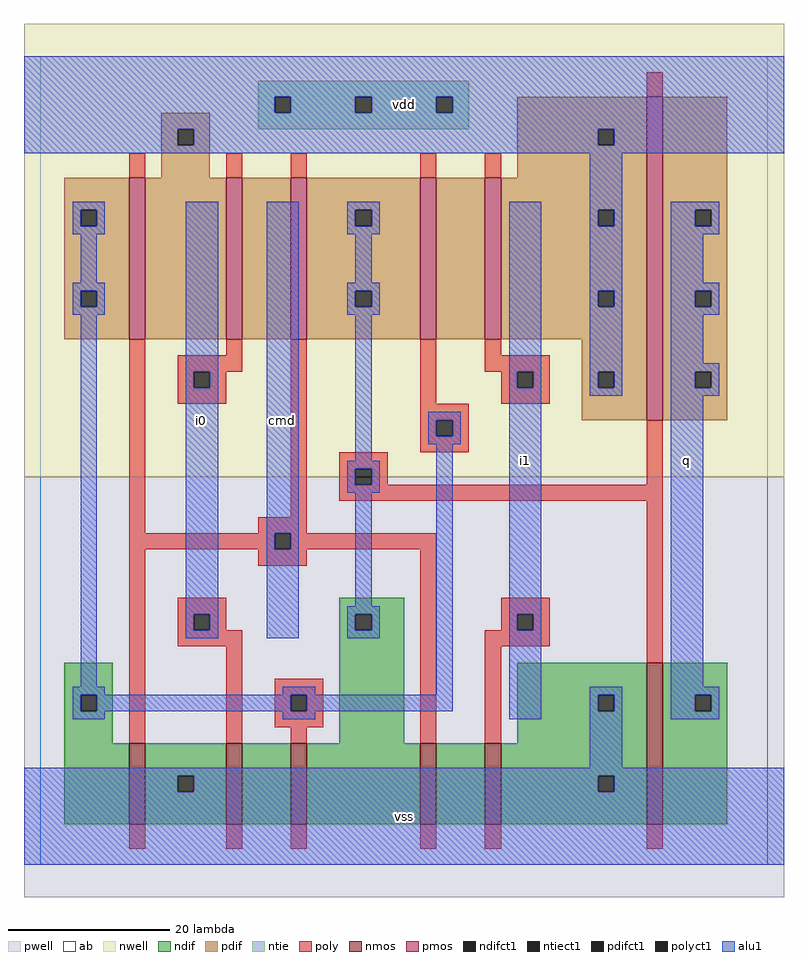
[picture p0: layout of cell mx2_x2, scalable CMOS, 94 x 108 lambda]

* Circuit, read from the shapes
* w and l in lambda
.subckt mx2_x2 cmd i0 i1 q vdd vss
M1 vss cmd n1 VSUBS nfet w=10 l=2
M2 n2 i0 vss VSUBS nfet w=10 l=2
M3 n3 n1 n2 VSUBS nfet w=10 l=2
M4 n4 cmd n3 VSUBS nfet w=10 l=2
M5 vss i1 n4 VSUBS nfet w=10 l=2
M6 q n3 vss VSUBS nfet w=20 l=2
M7 vdd cmd n1 vdd pfet w=20 l=2
M8 n5 i0 vdd vdd pfet w=20 l=2
M9 n3 cmd n5 vdd pfet w=20 l=2
M10 n6 n1 n3 vdd pfet w=20 l=2
M11 vdd i1 n6 vdd pfet w=20 l=2
M12 q n3 vdd vdd pfet w=40 l=2
.ends

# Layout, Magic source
magic
tech scmos
<< ab >>
rect 0 0 90 100
<< nwell >>
rect -2 48 92 104
<< pwell >>
rect -2 -4 92 48
<< poly >>
rect 75 95 77 98
rect 11 85 13 88
rect 23 85 25 88
rect 31 85 33 88
rect 47 85 49 88
rect 55 85 57 88
rect 11 41 13 65
rect 23 63 25 65
rect 17 61 25 63
rect 17 59 19 61
rect 21 59 23 61
rect 17 57 23 59
rect 31 43 33 65
rect 47 57 49 65
rect 55 63 57 65
rect 55 61 63 63
rect 57 59 59 61
rect 61 59 63 61
rect 57 57 63 59
rect 47 55 53 57
rect 47 53 49 55
rect 51 53 53 55
rect 47 51 53 53
rect 37 49 43 51
rect 37 47 39 49
rect 41 47 43 49
rect 75 47 77 55
rect 37 45 77 47
rect 27 41 33 43
rect 11 39 29 41
rect 31 39 49 41
rect 11 15 13 39
rect 27 37 33 39
rect 17 31 23 33
rect 17 29 19 31
rect 21 29 23 31
rect 17 27 25 29
rect 23 15 25 27
rect 29 21 35 23
rect 29 19 31 21
rect 33 19 35 21
rect 29 17 35 19
rect 31 15 33 17
rect 47 15 49 39
rect 57 31 63 33
rect 57 29 59 31
rect 61 29 63 31
rect 55 27 63 29
rect 55 15 57 27
rect 75 25 77 45
rect 11 2 13 5
rect 23 2 25 5
rect 31 2 33 5
rect 47 2 49 5
rect 55 2 57 5
rect 75 2 77 5
<< ndif >>
rect 3 21 9 25
rect 3 19 5 21
rect 7 19 9 21
rect 3 15 9 19
rect 37 31 45 33
rect 37 29 39 31
rect 41 29 45 31
rect 37 15 45 29
rect 59 21 75 25
rect 59 19 69 21
rect 71 19 75 21
rect 59 15 75 19
rect 3 5 11 15
rect 13 11 23 15
rect 13 9 17 11
rect 19 9 23 11
rect 13 5 23 9
rect 25 5 31 15
rect 33 5 47 15
rect 49 5 55 15
rect 57 11 75 15
rect 57 9 69 11
rect 71 9 75 11
rect 57 5 75 9
rect 77 21 85 25
rect 77 19 81 21
rect 83 19 85 21
rect 77 5 85 19
<< pdif >>
rect 15 91 21 93
rect 59 91 75 95
rect 15 89 17 91
rect 19 89 21 91
rect 15 85 21 89
rect 59 89 69 91
rect 71 89 75 91
rect 59 85 75 89
rect 3 81 11 85
rect 3 79 5 81
rect 7 79 11 81
rect 3 71 11 79
rect 3 69 5 71
rect 7 69 11 71
rect 3 65 11 69
rect 13 65 23 85
rect 25 65 31 85
rect 33 81 47 85
rect 33 79 39 81
rect 41 79 47 81
rect 33 71 47 79
rect 33 69 39 71
rect 41 69 47 71
rect 33 65 47 69
rect 49 65 55 85
rect 57 81 75 85
rect 57 79 69 81
rect 71 79 75 81
rect 57 71 75 79
rect 57 69 69 71
rect 71 69 75 71
rect 57 65 75 69
rect 67 61 75 65
rect 67 59 69 61
rect 71 59 75 61
rect 67 55 75 59
rect 77 81 85 95
rect 77 79 81 81
rect 83 79 85 81
rect 77 71 85 79
rect 77 69 81 71
rect 83 69 85 71
rect 77 61 85 69
rect 77 59 81 61
rect 83 59 85 61
rect 77 55 85 59
<< alu1 >>
rect -2 95 92 100
rect -2 93 29 95
rect 31 93 39 95
rect 41 93 49 95
rect 51 93 92 95
rect -2 91 92 93
rect -2 89 17 91
rect 19 89 69 91
rect 71 89 92 91
rect -2 88 92 89
rect 4 81 8 82
rect 4 79 5 81
rect 7 79 8 81
rect 4 78 8 79
rect 5 72 7 78
rect 4 71 8 72
rect 4 69 5 71
rect 7 69 8 71
rect 4 68 8 69
rect 5 22 7 68
rect 18 61 22 82
rect 18 59 19 61
rect 21 59 22 61
rect 18 31 22 59
rect 18 29 19 31
rect 21 29 22 31
rect 18 28 22 29
rect 28 41 32 82
rect 38 81 42 82
rect 38 79 39 81
rect 41 79 42 81
rect 38 78 42 79
rect 39 72 41 78
rect 38 71 42 72
rect 38 69 39 71
rect 41 69 42 71
rect 38 68 42 69
rect 39 50 41 68
rect 58 61 62 82
rect 58 59 59 61
rect 61 59 62 61
rect 48 55 52 56
rect 48 53 49 55
rect 51 53 52 55
rect 48 52 52 53
rect 38 49 42 50
rect 38 47 39 49
rect 41 47 42 49
rect 38 46 42 47
rect 28 39 29 41
rect 31 39 32 41
rect 28 28 32 39
rect 39 32 41 46
rect 38 31 42 32
rect 38 29 39 31
rect 41 29 42 31
rect 38 28 42 29
rect 4 21 8 22
rect 30 21 34 22
rect 49 21 51 52
rect 4 19 5 21
rect 7 19 31 21
rect 33 19 51 21
rect 58 31 62 59
rect 68 81 72 88
rect 68 79 69 81
rect 71 79 72 81
rect 68 71 72 79
rect 68 69 69 71
rect 71 69 72 71
rect 68 61 72 69
rect 68 59 69 61
rect 71 59 72 61
rect 68 58 72 59
rect 78 81 84 82
rect 78 79 81 81
rect 83 79 84 81
rect 78 78 84 79
rect 78 72 82 78
rect 78 71 84 72
rect 78 69 81 71
rect 83 69 84 71
rect 78 68 84 69
rect 78 62 82 68
rect 78 61 84 62
rect 78 59 81 61
rect 83 59 84 61
rect 78 58 84 59
rect 58 29 59 31
rect 61 29 62 31
rect 4 18 8 19
rect 30 18 34 19
rect 58 18 62 29
rect 78 22 82 58
rect 68 21 72 22
rect 68 19 69 21
rect 71 19 72 21
rect 68 12 72 19
rect 78 21 84 22
rect 78 19 81 21
rect 83 19 84 21
rect 78 18 84 19
rect -2 11 92 12
rect -2 9 17 11
rect 19 9 69 11
rect 71 9 92 11
rect -2 0 92 9
<< ntie >>
rect 27 95 53 97
rect 27 93 29 95
rect 31 93 39 95
rect 41 93 49 95
rect 51 93 53 95
rect 27 91 53 93
<< nmos >>
rect 11 5 13 15
rect 23 5 25 15
rect 31 5 33 15
rect 47 5 49 15
rect 55 5 57 15
rect 75 5 77 25
<< pmos >>
rect 11 65 13 85
rect 23 65 25 85
rect 31 65 33 85
rect 47 65 49 85
rect 55 65 57 85
rect 75 55 77 95
<< polyct1 >>
rect 19 59 21 61
rect 59 59 61 61
rect 49 53 51 55
rect 39 47 41 49
rect 29 39 31 41
rect 19 29 21 31
rect 31 19 33 21
rect 59 29 61 31
<< ndifct1 >>
rect 5 19 7 21
rect 39 29 41 31
rect 69 19 71 21
rect 17 9 19 11
rect 69 9 71 11
rect 81 19 83 21
<< ntiect1 >>
rect 29 93 31 95
rect 39 93 41 95
rect 49 93 51 95
<< pdifct1 >>
rect 17 89 19 91
rect 69 89 71 91
rect 5 79 7 81
rect 5 69 7 71
rect 39 79 41 81
rect 39 69 41 71
rect 69 79 71 81
rect 69 69 71 71
rect 69 59 71 61
rect 81 79 83 81
rect 81 69 83 71
rect 81 59 83 61
<< labels >>
rlabel alu1 30 55 30 55 6 cmd
rlabel alu1 20 55 20 55 6 i0
rlabel alu1 45 6 45 6 6 vss
rlabel alu1 60 50 60 50 6 i1
rlabel alu1 45 94 45 94 6 vdd
rlabel alu1 80 50 80 50 6 q
<< end >>
